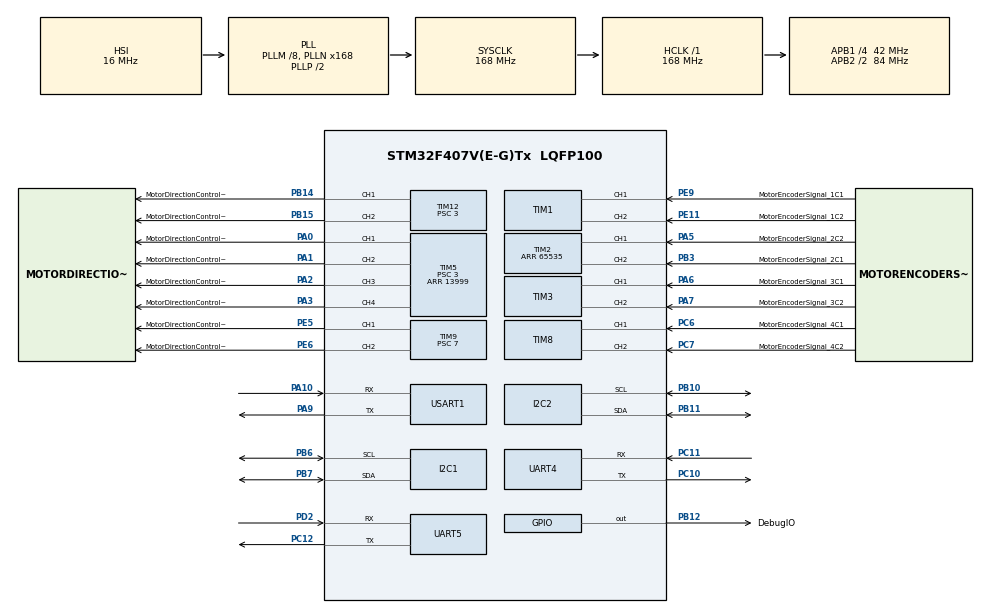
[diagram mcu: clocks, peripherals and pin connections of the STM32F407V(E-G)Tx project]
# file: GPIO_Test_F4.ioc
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FREERTOS.Mutexes01=UART1Mutex01,Dynamic,NULL,Available;MotorPIDOutPulseMutex,Dynamic,NULL,Available;MotorStatusMutex,Dynamic,NULL,Available
FREERTOS.Tasks01=gpiotask,24,512,GPIO_Task,Default,NULL,Dynamic,NULL,NULL;uart_task,8,512,UART_Task,As external,NULL,Dynamic,NULL,NULL;imu_task,8,512,Imu_Task,As external,NULL,Dynamic,NULL,NULL;pca9685task,8,512,PCA9685_Task,As external,NULL,Dynamic,NULL,NULL;jetson_task,8,512,Jetson_Task,As external,NULL,Dynamic,NULL,NULL;MotorTask1,8,128,MotorSpeedTask,As external,&motor0_n20,Dynamic,NULL,NULL;MotorTask2,8,128,MotorSpeedTask,As external,&motor1_n20,Dynamic,NULL,NULL;MotorTask3,8,128,MotorSpeedTask,As external,&motor2_n20,Dynamic,NULL,NULL;MotorTask4,8,128,MotorSpeedTask,As external,&motor3_n20,Dynamic,NULL,NULL;MotorCtrlTasK1,8,128,MotorCtrl_TasK,As external,&Motor_0,Dynamic,NULL,NULL;MotorCtrlTasK2,8,128,MotorCtrl_TasK,As external,&Motor_1,Dynamic,NULL,NULL;MotorCtrlTasK3,8,128,MotorCtrl_TasK,As external,&Motor_2,Dynamic,NULL,NULL;MotorCtrlTasK4,8,128,MotorCtrl_TasK,As external,&Motor_3,Dynamic,NULL,NULL;Motor_PID_Task,8,128,Motor_PID_TaskFunc,As external,NULL,Dynamic,NULL,NULL
FREERTOS.configTOTAL_HEAP_SIZE=32768
Mcu.Family=STM32F4
Mcu.Name=STM32F407V(E-G)Tx
Mcu.Package=LQFP100
NVIC.PriorityGroup=NVIC_PRIORITYGROUP_4
NVIC.TIM4_IRQn=true\:15\:0\:false\:false\:true\:false\:false\:true\:true
NVIC.TimeBase=TIM4_IRQn
NVIC.TimeBaseIP=TIM4
NVIC.UART5_IRQn=true\:5\:0\:true\:false\:true\:true\:true\:true\:true
PA0-WKUP.GPIO_Label=MotorDirectionControl_IO1_1
PA0-WKUP.Signal=S_TIM5_CH1
PA1.GPIO_Label=MotorDirectionControl_IO1_2
PA1.Signal=S_TIM5_CH2
PA10.Mode=Asynchronous
PA10.Signal=USART1_RX
PA13.Mode=Serial_Wire
PA13.Signal=SYS_JTMS-SWDIO
PA14.Mode=Serial_Wire
PA14.Signal=SYS_JTCK-SWCLK
PA2.GPIO_Label=MotorDirectionControl_IO2_1
PA2.Signal=S_TIM5_CH3
PA3.GPIO_Label=MotorDirectionControl_IO2_2
PA3.Signal=S_TIM5_CH4
PA5.GPIO_Label=MotorEncoderSignal_2C2
PA5.GPIO_Speed=GPIO_SPEED_FREQ_VERY_HIGH
PA5.Signal=S_TIM2_CH1_ETR
PA6.GPIO_Label=MotorEncoderSignal_3C1
PA6.GPIO_Speed=GPIO_SPEED_FREQ_VERY_HIGH
PA6.Signal=S_TIM3_CH1
PA7.GPIO_Label=MotorEncoderSignal_3C2
PA7.GPIO_Speed=GPIO_SPEED_FREQ_VERY_HIGH
PA7.Signal=S_TIM3_CH2
PA9.Mode=Asynchronous
PA9.Signal=USART1_TX
PB10.Mode=I2C
PB10.Signal=I2C2_SCL
PB11.Mode=I2C
PB11.Signal=I2C2_SDA
PB12.GPIO_Label=DebugIO
PB12.GPIO_Speed=GPIO_SPEED_FREQ_LOW
PB12.Signal=GPIO_Output
PB14.GPIO_Label=MotorDirectionControl_IO3_1
PB14.Signal=S_TIM12_CH1
PB15.GPIO_Label=MotorDirectionControl_IO3_2
PB15.Signal=S_TIM12_CH2
PB3.GPIO_Label=MotorEncoderSignal_2C1
PB3.GPIO_Speed=GPIO_SPEED_FREQ_VERY_HIGH
PB3.Signal=S_TIM2_CH2
PB6.Mode=I2C
PB6.Signal=I2C1_SCL
PB7.Mode=I2C
PB7.Signal=I2C1_SDA
PC10.Mode=Asynchronous
PC10.Signal=UART4_TX
PC11.Mode=Asynchronous
PC11.Signal=UART4_RX
PC12.Mode=Asynchronous
PC12.Signal=UART5_TX
PC6.GPIO_Label=MotorEncoderSignal_4C1
PC6.GPIO_Speed=GPIO_SPEED_FREQ_VERY_HIGH
PC6.Signal=S_TIM8_CH1
PC7.GPIO_Label=MotorEncoderSignal_4C2
PC7.GPIO_Speed=GPIO_SPEED_FREQ_VERY_HIGH
PC7.Signal=S_TIM8_CH2
PD2.Mode=Asynchronous
PD2.Signal=UART5_RX
PE11.GPIO_Label=MotorEncoderSignal_1C2
PE11.GPIO_Speed=GPIO_SPEED_FREQ_VERY_HIGH
PE11.Signal=S_TIM1_CH2
PE5.GPIO_Label=MotorDirectionControl_IO4_1
PE5.Signal=S_TIM9_CH1
PE6.GPIO_Label=MotorDirectionControl_IO4_2
PE6.Signal=S_TIM9_CH2
PE9.GPIO_Label=MotorEncoderSignal_1C1
PE9.GPIO_Speed=GPIO_SPEED_FREQ_VERY_HIGH
PE9.Signal=S_TIM1_CH1
PH0-OSC_IN.Mode=HSE-External-Oscillator
PH0-OSC_IN.Signal=RCC_OSC_IN
PH1-OSC_OUT.Mode=HSE-External-Oscillator
PH1-OSC_OUT.Signal=RCC_OSC_OUT
ProjectManager.HeapSize=0x200
ProjectManager.StackSize=0x400
ProjectManager.TargetToolchain=MDK-ARM V5
RCC.48MHZClocksFreq_Value=84000000
RCC.AHBFreq_Value=168000000
RCC.APB1CLKDivider=RCC_HCLK_DIV4
RCC.APB1Freq_Value=42000000
RCC.APB1TimFreq_Value=84000000
RCC.APB2CLKDivider=RCC_HCLK_DIV2
RCC.APB2Freq_Value=84000000
RCC.APB2TimFreq_Value=168000000
RCC.CortexFreq_Value=168000000
RCC.HCLKFreq_Value=168000000
RCC.HSE_VALUE=25000000
RCC.HSI_VALUE=16000000
RCC.LSE_VALUE=32768
RCC.PLLM=8
RCC.PLLN=168
RCC.SYSCLKFreq_VALUE=168000000
RCC.SYSCLKSource=RCC_SYSCLKSOURCE_PLLCLK
RCC.VCOOutputFreq_Value=336000000
SH.S_TIM12_CH1.0=TIM12_CH1,PWM Generation1 CH1
SH.S_TIM12_CH2.0=TIM12_CH2,PWM Generation2 CH2
SH.S_TIM1_CH1.0=TIM1_CH1,Encoder_Interface
SH.S_TIM1_CH2.0=TIM1_CH2,Encoder_Interface
SH.S_TIM2_CH1_ETR.0=TIM2_CH1,Encoder_Interface
SH.S_TIM2_CH2.0=TIM2_CH2,Encoder_Interface
SH.S_TIM3_CH1.0=TIM3_CH1,Encoder_Interface
SH.S_TIM3_CH2.0=TIM3_CH2,Encoder_Interface
SH.S_TIM5_CH1.0=TIM5_CH1,PWM Generation1 CH1
SH.S_TIM5_CH2.0=TIM5_CH2,PWM Generation2 CH2
SH.S_TIM5_CH3.0=TIM5_CH3,PWM Generation3 CH3
SH.S_TIM5_CH4.0=TIM5_CH4,PWM Generation4 CH4
SH.S_TIM8_CH1.0=TIM8_CH1,Encoder_Interface
SH.S_TIM8_CH2.0=TIM8_CH2,Encoder_Interface
SH.S_TIM9_CH1.0=TIM9_CH1,PWM Generation1 CH1
SH.S_TIM9_CH2.0=TIM9_CH2,PWM Generation2 CH2
TIM1.EncoderMode=TIM_ENCODERMODE_TI12
TIM12.Channel-PWM\ Generation1\ CH1=TIM_CHANNEL_1
TIM12.Channel-PWM\ Generation2\ CH2=TIM_CHANNEL_2
TIM12.Period=13999
TIM12.Prescaler=3
TIM2.EncoderMode=TIM_ENCODERMODE_TI12
TIM2.Period=65535
TIM3.EncoderMode=TIM_ENCODERMODE_TI12
TIM5.Channel-PWM\ Generation1\ CH1=TIM_CHANNEL_1
TIM5.Channel-PWM\ Generation2\ CH2=TIM_CHANNEL_2
TIM5.Channel-PWM\ Generation3\ CH3=TIM_CHANNEL_3
TIM5.Channel-PWM\ Generation4\ CH4=TIM_CHANNEL_4
TIM5.Period=13999
TIM5.Prescaler=3
TIM8.EncoderMode=TIM_ENCODERMODE_TI12
TIM9.Channel-PWM\ Generation1\ CH1=TIM_CHANNEL_1
TIM9.Channel-PWM\ Generation2\ CH2=TIM_CHANNEL_2
TIM9.Period=65535
TIM9.Prescaler=7
UART4.Parity=PARITY_EVEN
UART4.VirtualMode=Asynchronous
UART4.WordLength=WORDLENGTH_9B
UART5.Parity=PARITY_EVEN
UART5.VirtualMode=Asynchronous
UART5.WordLength=WORDLENGTH_9B
USART1.VirtualMode=VM_ASYNC
VP_FREERTOS_VS_CMSIS_V2.Mode=CMSIS_V2
VP_SYS_VS_tim4.Mode=TIM4
board=custom

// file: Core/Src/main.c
/* USER CODE BEGIN Header */
/**
  ******************************************************************************
  * @file           : main.c
  * @brief          : Main program body
  ******************************************************************************
  * @attention
  *
  * Copyright (c) 2026 STMicroelectronics.
  * All rights reserved.
  *
  * This software is licensed under terms that can be found in the LICENSE file
  * in the root directory of this software component.
  * If no LICENSE file comes with this software, it is provided AS-IS.
  *
  ******************************************************************************
  */
/* USER CODE END Header */
#include "main.h"
#include "cmsis_os.h"
#include "i2c.h"
#include "tim.h"
#include "usart.h"
#include "gpio.h"

/* USER CODE BEGIN Includes */
#include "bsp_mpu6050.h"
#include "pca9685.h"
#include "jetson_uart.h"
#include "Motor.h"
#include "FreeRTOS.h"
#include "queue.h"
#include <string.h>
#include "SEGGER_SYSVIEW.h"

/* USER CODE END Includes */

void SystemClock_Config(void);
void MX_FREERTOS_Init(void);

int main(void)
{

  /* MCU Configuration--------------------------------------------------------*/

  /* Reset of all peripherals, Initializes the Flash interface and the Systick. */
  HAL_Init();

  /* Configure the system clock */
  SystemClock_Config();

  /* Initialize all configured peripherals */
  MX_GPIO_Init();
  MX_UART4_Init();
  MX_I2C1_Init();
  MX_I2C2_Init();
  MX_UART5_Init();
  MX_TIM3_Init();
  MX_TIM1_Init();
  MX_TIM2_Init();
  MX_TIM8_Init();
  MX_TIM5_Init();
  MX_TIM9_Init();
  MX_TIM12_Init();
  MX_USART1_UART_Init();
  /* USER CODE BEGIN 2 */
	SEGGER_SYSVIEW_Conf();

    HAL_TIM_Encoder_Start(&htim1, TIM_CHANNEL_ALL);
    HAL_TIM_Encoder_Start(&htim2, TIM_CHANNEL_ALL);
    HAL_TIM_Encoder_Start(&htim3, TIM_CHANNEL_ALL);
    HAL_TIM_Encoder_Start(&htim8, TIM_CHANNEL_ALL);
  /* USER CODE END 2 */

  /* Init scheduler */
  osKernelInitialize();  /* Call init function for freertos objects (in cmsis_os2.c) */
  MX_FREERTOS_Init();

  /* Start scheduler */
  osKernelStart();

  /* We should never get here as control is now taken by the scheduler */

  /* Infinite loop */
  while (1)
  {

  }
}

void SystemClock_Config(void)
{
  RCC_OscInitTypeDef RCC_OscInitStruct = {0};
  RCC_ClkInitTypeDef RCC_ClkInitStruct = {0};

  /** Configure the main internal regulator output voltage
  */
  __HAL_RCC_PWR_CLK_ENABLE();
  __HAL_PWR_VOLTAGESCALING_CONFIG(PWR_REGULATOR_VOLTAGE_SCALE1);

  /** Initializes the RCC Oscillators according to the specified parameters
  * in the RCC_OscInitTypeDef structure.
  */
  RCC_OscInitStruct.OscillatorType = RCC_OSCILLATORTYPE_HSI;
  RCC_OscInitStruct.HSIState = RCC_HSI_ON;
  RCC_OscInitStruct.HSICalibrationValue = RCC_HSICALIBRATION_DEFAULT;
  RCC_OscInitStruct.PLL.PLLState = RCC_PLL_ON;
  RCC_OscInitStruct.PLL.PLLSource = RCC_PLLSOURCE_HSI;
  RCC_OscInitStruct.PLL.PLLM = 8;
  RCC_OscInitStruct.PLL.PLLN = 168;
  RCC_OscInitStruct.PLL.PLLP = RCC_PLLP_DIV2;
  RCC_OscInitStruct.PLL.PLLQ = 4;
  if (HAL_RCC_OscConfig(&RCC_OscInitStruct) != HAL_OK)
  {
    Error_Handler();
  }

  /** Initializes the CPU, AHB and APB buses clocks
  */
  RCC_ClkInitStruct.ClockType = RCC_CLOCKTYPE_HCLK|RCC_CLOCKTYPE_SYSCLK
                              |RCC_CLOCKTYPE_PCLK1|RCC_CLOCKTYPE_PCLK2;
  RCC_ClkInitStruct.SYSCLKSource = RCC_SYSCLKSOURCE_PLLCLK;
  RCC_ClkInitStruct.AHBCLKDivider = RCC_SYSCLK_DIV1;
  RCC_ClkInitStruct.APB1CLKDivider = RCC_HCLK_DIV4;
  RCC_ClkInitStruct.APB2CLKDivider = RCC_HCLK_DIV2;

  if (HAL_RCC_ClockConfig(&RCC_ClkInitStruct, FLASH_LATENCY_5) != HAL_OK)
  {
    Error_Handler();
  }
}

void HAL_TIM_PeriodElapsedCallback(TIM_HandleTypeDef *htim)
{
  if (htim->Instance == TIM4)
  {
    HAL_IncTick();
  }
}

void Error_Handler(void)
{
  /* USER CODE BEGIN Error_Handler_Debug */
  /* User can add his own implementation to report the HAL error return state */
  char error_msg[] = "Error_Handler: System Error Occurred!\r\n";
  HAL_UART_Transmit(&huart4, (uint8_t*)error_msg, strlen(error_msg), 0xFFFF);

  __disable_irq();
  while (1)
  {
  }
  /* USER CODE END Error_Handler_Debug */
}

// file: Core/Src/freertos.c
/* USER CODE BEGIN Header */
/**
  ******************************************************************************
  * File Name          : freertos.c
  * Description        : Code for freertos applications
  ******************************************************************************
  * @attention
  *
  * Copyright (c) 2026 STMicroelectronics.
  * All rights reserved.
  *
  * This software is licensed under terms that can be found in the LICENSE file
  * in the root directory of this software component.
  * If no LICENSE file comes with this software, it is provided AS-IS.
  *
  ******************************************************************************
  */
/* USER CODE END Header */

#include "FreeRTOS.h"
#include "task.h"
#include "main.h"
#include "cmsis_os.h"

/* USER CODE BEGIN Includes */
#include "Motor.h"
#include "main.h"
#include "FreeRTOS.h"
#include "task.h"
#include "queue.h"
#include "main.h"
#include "cmsis_os.h"
#include "jetson_uart.h"
#include "math.h"

/* USER CODE END Includes */

/* USER CODE BEGIN Variables */
extern Motor_Status_t motor0_n20;
extern Motor_Status_t motor1_n20;
extern Motor_Status_t motor2_n20;
extern Motor_Status_t motor3_n20;
extern uint8_t Motor_0;
extern uint8_t Motor_1;
extern uint8_t Motor_2;
extern uint8_t Motor_3;

//��Բ�ͬ�Ķ�ʱ����������޷�
//uint16_t ulMaxPulse_TIM5_12=MAX_MOTOR_PWM_PULSE_5_12;
//uint16_t ulMaxPulse_TIM9=MAX_MOTOR_PWM_PULSE_9;

/* USER CODE END Variables */
/* Definitions for gpiotask */
osThreadId_t gpiotaskHandle;
const osThreadAttr_t gpiotask_attributes = {
  .name = "gpiotask",
  .stack_size = 512 * 4,
  .priority = (osPriority_t) osPriorityNormal,
};
/* Definitions for uart_task */
osThreadId_t uart_taskHandle;
const osThreadAttr_t uart_task_attributes = {
  .name = "uart_task",
  .stack_size = 512 * 4,
  .priority = (osPriority_t) osPriorityLow,
};
/* Definitions for imu_task */
osThreadId_t imu_taskHandle;
const osThreadAttr_t imu_task_attributes = {
  .name = "imu_task",
  .stack_size = 512 * 4,
  .priority = (osPriority_t) osPriorityLow,
};
/* Definitions for pca9685task */
osThreadId_t pca9685taskHandle;
const osThreadAttr_t pca9685task_attributes = {
  .name = "pca9685task",
  .stack_size = 512 * 4,
  .priority = (osPriority_t) osPriorityLow,
};
/* Definitions for jetson_task */
osThreadId_t jetson_taskHandle;
const osThreadAttr_t jetson_task_attributes = {
  .name = "jetson_task",
  .stack_size = 512 * 4,
  .priority = (osPriority_t) osPriorityLow,
};
/* Definitions for MotorTask1 */
osThreadId_t MotorTask1Handle;
const osThreadAttr_t MotorTask1_attributes = {
  .name = "MotorTask1",
  .stack_size = 128 * 4,
  .priority = (osPriority_t) osPriorityLow,
};
/* Definitions for MotorTask2 */
osThreadId_t MotorTask2Handle;
const osThreadAttr_t MotorTask2_attributes = {
  .name = "MotorTask2",
  .stack_size = 128 * 4,
  .priority = (osPriority_t) osPriorityLow,
};
/* Definitions for MotorTask3 */
osThreadId_t MotorTask3Handle;
const osThreadAttr_t MotorTask3_attributes = {
  .name = "MotorTask3",
  .stack_size = 128 * 4,
  .priority = (osPriority_t) osPriorityLow,
};
/* Definitions for MotorTask4 */
osThreadId_t MotorTask4Handle;
const osThreadAttr_t MotorTask4_attributes = {
  .name = "MotorTask4",
  .stack_size = 128 * 4,
  .priority = (osPriority_t) osPriorityLow,
};
/* Definitions for MotorCtrlTasK1 */
osThreadId_t MotorCtrlTasK1Handle;
const osThreadAttr_t MotorCtrlTasK1_attributes = {
  .name = "MotorCtrlTasK1",
  .stack_size = 128 * 4,
  .priority = (osPriority_t) osPriorityLow,
};
/* Definitions for MotorCtrlTasK2 */
osThreadId_t MotorCtrlTasK2Handle;
const osThreadAttr_t MotorCtrlTasK2_attributes = {
  .name = "MotorCtrlTasK2",
  .stack_size = 128 * 4,
  .priority = (osPriority_t) osPriorityLow,
};
/* Definitions for MotorCtrlTasK3 */
osThreadId_t MotorCtrlTasK3Handle;
const osThreadAttr_t MotorCtrlTasK3_attributes = {
  .name = "MotorCtrlTasK3",
  .stack_size = 128 * 4,
  .priority = (osPriority_t) osPriorityLow,
};
/* Definitions for MotorCtrlTasK4 */
osThreadId_t MotorCtrlTasK4Handle;
const osThreadAttr_t MotorCtrlTasK4_attributes = {
  .name = "MotorCtrlTasK4",
  .stack_size = 128 * 4,
  .priority = (osPriority_t) osPriorityLow,
};
/* Definitions for Motor_PID_Task */
osThreadId_t Motor_PID_TaskHandle;
const osThreadAttr_t Motor_PID_Task_attributes = {
  .name = "Motor_PID_Task",
  .stack_size = 128 * 4,
  .priority = (osPriority_t) osPriorityLow,
};
/* Definitions for UART1Mutex01 */
osMutexId_t UART1Mutex01Handle;
const osMutexAttr_t UART1Mutex01_attributes = {
  .name = "UART1Mutex01"
};
/* Definitions for MotorPIDOutPulseMutex */
osMutexId_t MotorPIDOutPulseMutexHandle;
const osMutexAttr_t MotorPIDOutPulseMutex_attributes = {
  .name = "MotorPIDOutPulseMutex"
};
/* Definitions for MotorStatusMutex */
osMutexId_t MotorStatusMutexHandle;
const osMutexAttr_t MotorStatusMutex_attributes = {
  .name = "MotorStatusMutex"
};

void GPIO_Task(void *argument);
extern void UART_Task(void *argument);
extern void Imu_Task(void *argument);
extern void PCA9685_Task(void *argument);
extern void Jetson_Task(void *argument);
extern void MotorSpeedTask(void *argument);
extern void MotorCtrl_TasK(void *argument);
extern void Motor_PID_TaskFunc(void *argument);

void MX_FREERTOS_Init(void); /* (MISRA C 2004 rule 8.1) */

void MX_FREERTOS_Init(void) {
  /* Create the mutex(es) */
  /* creation of UART1Mutex01 */
  UART1Mutex01Handle = osMutexNew(&UART1Mutex01_attributes);

  /* creation of MotorPIDOutPulseMutex */
  MotorPIDOutPulseMutexHandle = osMutexNew(&MotorPIDOutPulseMutex_attributes);

  /* creation of MotorStatusMutex */
  MotorStatusMutexHandle = osMutexNew(&MotorStatusMutex_attributes);

  /* Create the thread(s) */
  /* creation of gpiotask */
  gpiotaskHandle = osThreadNew(GPIO_Task, NULL, &gpiotask_attributes);

  /* creation of uart_task */
  uart_taskHandle = osThreadNew(UART_Task, NULL, &uart_task_attributes);

  /* creation of imu_task */
  imu_taskHandle = osThreadNew(Imu_Task, NULL, &imu_task_attributes);

  /* creation of pca9685task */
  pca9685taskHandle = osThreadNew(PCA9685_Task, NULL, &pca9685task_attributes);

  /* creation of jetson_task */
  jetson_taskHandle = osThreadNew(Jetson_Task, NULL, &jetson_task_attributes);

  /* creation of MotorTask1 */
  MotorTask1Handle = osThreadNew(MotorSpeedTask, (void*) &motor0_n20, &MotorTask1_attributes);

  /* creation of MotorTask2 */
  MotorTask2Handle = osThreadNew(MotorSpeedTask, (void*) &motor1_n20, &MotorTask2_attributes);

  /* creation of MotorTask3 */
  MotorTask3Handle = osThreadNew(MotorSpeedTask, (void*) &motor2_n20, &MotorTask3_attributes);

  /* creation of MotorTask4 */
  MotorTask4Handle = osThreadNew(MotorSpeedTask, (void*) &motor3_n20, &MotorTask4_attributes);

  /* creation of MotorCtrlTasK1 */
  MotorCtrlTasK1Handle = osThreadNew(MotorCtrl_TasK, (void*) &Motor_0, &MotorCtrlTasK1_attributes);

  /* creation of MotorCtrlTasK2 */
  MotorCtrlTasK2Handle = osThreadNew(MotorCtrl_TasK, (void*) &Motor_1, &MotorCtrlTasK2_attributes);

  /* creation of MotorCtrlTasK3 */
  MotorCtrlTasK3Handle = osThreadNew(MotorCtrl_TasK, (void*) &Motor_2, &MotorCtrlTasK3_attributes);

  /* creation of MotorCtrlTasK4 */
  MotorCtrlTasK4Handle = osThreadNew(MotorCtrl_TasK, (void*) &Motor_3, &MotorCtrlTasK4_attributes);

  /* creation of Motor_PID_Task */
  Motor_PID_TaskHandle = osThreadNew(Motor_PID_TaskFunc, NULL, &Motor_PID_Task_attributes);

}

void GPIO_Task(void *argument)
{
  for(;;)
  {
    osDelay(1);
  }
}
